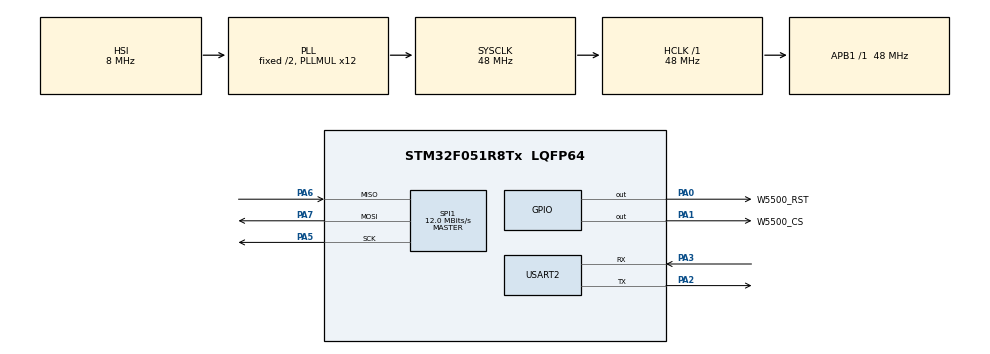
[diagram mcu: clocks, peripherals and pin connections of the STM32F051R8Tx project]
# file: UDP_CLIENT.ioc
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Mcu.Family=STM32F0
Mcu.Name=STM32F051R8Tx
Mcu.Package=LQFP64
Mcu.UserConstants=hspi_w5500,$$_SPI1_IP_HANDLE_$$;huart_debug,$$_USART2_IP_HANDLE_$$
PA0.GPIO_Label=W5500_RST
PA0.GPIO_Speed=GPIO_SPEED_FREQ_MEDIUM
PA0.PinState=GPIO_PIN_SET
PA0.Signal=GPIO_Output
PA1.GPIO_Label=W5500_CS
PA1.GPIO_Speed=GPIO_SPEED_FREQ_HIGH
PA1.PinState=GPIO_PIN_SET
PA1.Signal=GPIO_Output
PA13.Mode=Serial_Wire
PA13.Signal=SYS_SWDIO
PA14.Mode=Serial_Wire
PA14.Signal=SYS_SWCLK
PA2.Mode=Asynchronous
PA2.Signal=USART2_TX
PA3.Mode=Asynchronous
PA3.Signal=USART2_RX
PA5.Mode=Full_Duplex_Master
PA5.Signal=SPI1_SCK
PA6.Mode=Full_Duplex_Master
PA6.Signal=SPI1_MISO
PA7.Mode=Full_Duplex_Master
PA7.Signal=SPI1_MOSI
ProjectManager.HeapSize=0x200
ProjectManager.StackSize=0x400
ProjectManager.TargetToolchain=STM32CubeIDE
RCC.AHBFreq_Value=48000000
RCC.APB1Freq_Value=48000000
RCC.APB1TimFreq_Value=48000000
RCC.HCLKFreq_Value=48000000
RCC.PLLMUL=RCC_PLL_MUL12
RCC.SYSCLKFreq_VALUE=48000000
RCC.SYSCLKSource=RCC_SYSCLKSOURCE_PLLCLK
SPI1.BaudRatePrescaler=SPI_BAUDRATEPRESCALER_4
SPI1.CalculateBaudRate=12.0 MBits/s
SPI1.DataSize=SPI_DATASIZE_8BIT
SPI1.Direction=SPI_DIRECTION_2LINES
SPI1.Mode=SPI_MODE_MASTER
SPI1.VirtualType=VM_MASTER
USART2.VirtualMode-Asynchronous=VM_ASYNC
board=custom

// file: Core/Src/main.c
/* USER CODE BEGIN Header */
/* A simple UDP client example for Wiznet IO driver. Use
 * Hercules as UDP server on the PC. This example uses
 * static IP (no DHCP). Edit the IP address of this client
 * on file ethernet.c
 *
 * This UDP client will send simple hello world text message
 * on UDP port number 5000.
 *
 *
 *	TARGET HARDWARE
 *	***************
 *	STM32F051Rx (Nucleo) with no Crystal (CPU Speed 48MHz).
 *	FLASH: 64KB, RAM: 8KB
 *
 *	W5500 CHIP CONNECTED ON SPI1
 *	****************************
 *	MOSI  <----> PA7 (SPI1_MOSI)
 *	MISO  <----> PA6 (SPI1_MISO)
 *	SCLK  <----> PA5 (SPI1_SCK)
 *	SCS   <----> PA1 (GPIO OUTPUT MODE)
 *	RST   <----> PA0 (GPIO OUTPUT MODE)
 *	INT   <----> N/C (NOT CONNECTED)
 *
 *	Debug Messages are Printed on USART2
 *	************************************
 *	TX ----> PA2
 *	Baud: 38400, No parity, 1 stop bits
 *	Please connect a USB-TLL module of 3.3V (like FT232)
 *	to view the messages on PC.
 *
 *	Visit
 *	https://www.udemy.com/course/ethernet-on-stm32-using-w5500
 *
 *	To get the full course!
 */
/* USER CODE END Header */
#include "main.h"

/* USER CODE BEGIN Includes */
#include <stdbool.h>
#include <stdio.h>
#include <w5500_spi.h>
#include <wizchip_conf.h>
#include <socket.h>
#include "ethernet.h"
/* USER CODE END Includes */

/* USER CODE BEGIN PD */
uint8_t server_ip[4]={192,168,1,36};//put IP address of your PC here
#define SERVER_PORT 5000
/* USER CODE END PD */

SPI_HandleTypeDef hspi1;

UART_HandleTypeDef huart2;

void SystemClock_Config(void);
static void MX_GPIO_Init(void);
static void MX_SPI1_Init(void);
static void MX_USART2_UART_Init(void);

int main(void)
{

  /* USER CODE BEGIN 1 */
  int32_t result;//to store result(return value) of socket functions
  /* USER CODE END 1 */

  /* MCU Configuration--------------------------------------------------------*/

  /* Reset of all peripherals, Initializes the Flash interface and the Systick. */
  HAL_Init();

  /* Configure the system clock */
  SystemClock_Config();

  /* Initialize all configured peripherals */
  MX_GPIO_Init();
  MX_SPI1_Init();
  MX_USART2_UART_Init();
  /* USER CODE BEGIN 2 */
  setbuf(stdout, NULL);//prevent buffering of printf,immediate flush to USART

  printf("A simple UDP client example using w5500\r\n");
  printf("---------------------------------------\r\n\r\n");
  EthernetInit();

  //The return value of socket() call is the socket number if success
  //we are using socket number 1 so it should return 1 for success
  //The 3rd argument is the local port, when a client is written
  //better give 0 here, that will use a random available port
  if(socket(1, Sn_MR_UDP, 0, 0)==1)
  {
	  printf("\r\nUDP Socket Created Successfully\r\n");
  }
  else
  {
	  printf("\r\nCannot create socket\r\n");
	  while(1);
  }
  /* USER CODE END 2 */

  /* Infinite loop */
  /* USER CODE BEGIN WHILE */
  while (1)
  {
	  result=sendto(1, (uint8_t *)"JAI SHREE RAM !!!\r\n", 19, server_ip,SERVER_PORT);
	  if(result<0)
	  {
		  //error
		  printf("Data sending failed!\r\n");
	  }
	  else
	  {
		  //success
		  printf("Data sent successfully!\r\n");
		  printf("Written %ld bytes to socket\r\n", result);//on success it returns number of bytes written to socket
	  }

	  HAL_Delay(1000);
    /* USER CODE END WHILE */

  }
}

void SystemClock_Config(void)
{
  RCC_OscInitTypeDef RCC_OscInitStruct = {0};
  RCC_ClkInitTypeDef RCC_ClkInitStruct = {0};

  /** Initializes the RCC Oscillators according to the specified parameters
  * in the RCC_OscInitTypeDef structure.
  */
  RCC_OscInitStruct.OscillatorType = RCC_OSCILLATORTYPE_HSI;
  RCC_OscInitStruct.HSIState = RCC_HSI_ON;
  RCC_OscInitStruct.HSICalibrationValue = RCC_HSICALIBRATION_DEFAULT;
  RCC_OscInitStruct.PLL.PLLState = RCC_PLL_ON;
  RCC_OscInitStruct.PLL.PLLSource = RCC_PLLSOURCE_HSI;
  RCC_OscInitStruct.PLL.PLLMUL = RCC_PLL_MUL12;
  RCC_OscInitStruct.PLL.PREDIV = RCC_PREDIV_DIV1;
  if (HAL_RCC_OscConfig(&RCC_OscInitStruct) != HAL_OK)
  {
    Error_Handler();
  }

  /** Initializes the CPU, AHB and APB buses clocks
  */
  RCC_ClkInitStruct.ClockType = RCC_CLOCKTYPE_HCLK|RCC_CLOCKTYPE_SYSCLK
                              |RCC_CLOCKTYPE_PCLK1;
  RCC_ClkInitStruct.SYSCLKSource = RCC_SYSCLKSOURCE_PLLCLK;
  RCC_ClkInitStruct.AHBCLKDivider = RCC_SYSCLK_DIV1;
  RCC_ClkInitStruct.APB1CLKDivider = RCC_HCLK_DIV1;

  if (HAL_RCC_ClockConfig(&RCC_ClkInitStruct, FLASH_LATENCY_1) != HAL_OK)
  {
    Error_Handler();
  }
}

static void MX_SPI1_Init(void)
{

  /* SPI1 parameter configuration*/
  hspi1.Instance = SPI1;
  hspi1.Init.Mode = SPI_MODE_MASTER;
  hspi1.Init.Direction = SPI_DIRECTION_2LINES;
  hspi1.Init.DataSize = SPI_DATASIZE_8BIT;
  hspi1.Init.CLKPolarity = SPI_POLARITY_LOW;
  hspi1.Init.CLKPhase = SPI_PHASE_1EDGE;
  hspi1.Init.NSS = SPI_NSS_SOFT;
  hspi1.Init.BaudRatePrescaler = SPI_BAUDRATEPRESCALER_4;
  hspi1.Init.FirstBit = SPI_FIRSTBIT_MSB;
  hspi1.Init.TIMode = SPI_TIMODE_DISABLE;
  hspi1.Init.CRCCalculation = SPI_CRCCALCULATION_DISABLE;
  hspi1.Init.CRCPolynomial = 7;
  hspi1.Init.CRCLength = SPI_CRC_LENGTH_DATASIZE;
  hspi1.Init.NSSPMode = SPI_NSS_PULSE_ENABLE;
  if (HAL_SPI_Init(&hspi1) != HAL_OK)
  {
    Error_Handler();
  }

}

static void MX_USART2_UART_Init(void)
{

  huart2.Instance = USART2;
  huart2.Init.BaudRate = 38400;
  huart2.Init.WordLength = UART_WORDLENGTH_8B;
  huart2.Init.StopBits = UART_STOPBITS_1;
  huart2.Init.Parity = UART_PARITY_NONE;
  huart2.Init.Mode = UART_MODE_TX_RX;
  huart2.Init.HwFlowCtl = UART_HWCONTROL_NONE;
  huart2.Init.OverSampling = UART_OVERSAMPLING_16;
  huart2.Init.OneBitSampling = UART_ONE_BIT_SAMPLE_DISABLE;
  huart2.AdvancedInit.AdvFeatureInit = UART_ADVFEATURE_NO_INIT;
  if (HAL_UART_Init(&huart2) != HAL_OK)
  {
    Error_Handler();
  }

}

static void MX_GPIO_Init(void)
{
  GPIO_InitTypeDef GPIO_InitStruct = {0};

  /* GPIO Ports Clock Enable */
  __HAL_RCC_GPIOA_CLK_ENABLE();

  /*Configure GPIO pin Output Level */
  HAL_GPIO_WritePin(GPIOA, W5500_RST_Pin|W5500_CS_Pin, GPIO_PIN_SET);

  /*Configure GPIO pin : W5500_RST_Pin */
  GPIO_InitStruct.Pin = W5500_RST_Pin;
  GPIO_InitStruct.Mode = GPIO_MODE_OUTPUT_PP;
  GPIO_InitStruct.Pull = GPIO_NOPULL;
  GPIO_InitStruct.Speed = GPIO_SPEED_FREQ_MEDIUM;
  HAL_GPIO_Init(W5500_RST_GPIO_Port, &GPIO_InitStruct);

  /*Configure GPIO pin : W5500_CS_Pin */
  GPIO_InitStruct.Pin = W5500_CS_Pin;
  GPIO_InitStruct.Mode = GPIO_MODE_OUTPUT_PP;
  GPIO_InitStruct.Pull = GPIO_NOPULL;
  GPIO_InitStruct.Speed = GPIO_SPEED_FREQ_HIGH;
  HAL_GPIO_Init(W5500_CS_GPIO_Port, &GPIO_InitStruct);

}

/* USER CODE BEGIN 4 */
int __io_putchar(int ch)
{
	HAL_UART_Transmit(&huart2, (uint8_t *)&ch, 1, 1);
	return ch;
}

/* USER CODE END 4 */

void Error_Handler(void)
{
  __disable_irq();
  while (1)
  {
  }
}
